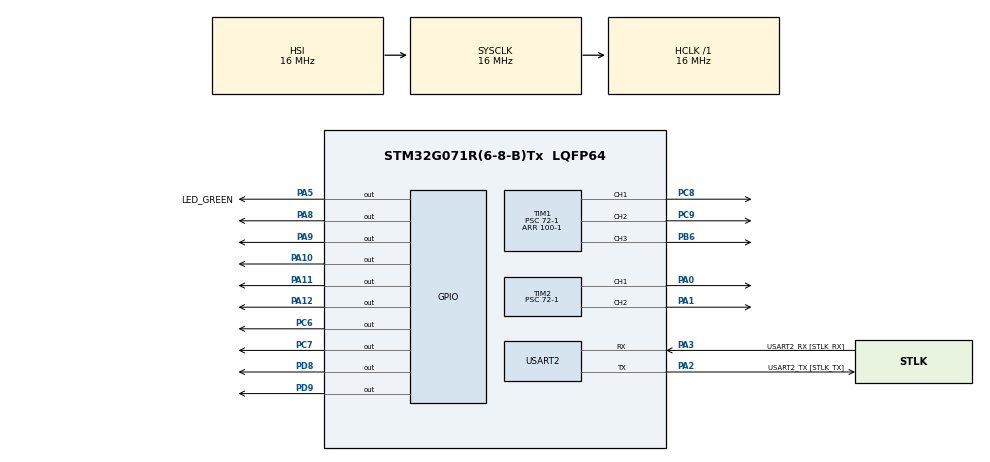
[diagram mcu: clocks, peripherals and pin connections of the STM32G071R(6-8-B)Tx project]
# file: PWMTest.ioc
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Mcu.Family=STM32G0
Mcu.Name=STM32G071R(6-8-B)Tx
Mcu.Package=LQFP64
PA0.Signal=S_TIM2_CH1_ETR
PA1.Signal=S_TIM2_CH2
PA10.Signal=GPIO_Output
PA11\ [PA9].Signal=GPIO_Output
PA12\ [PA10].Signal=GPIO_Output
PA13.GPIO_Label=TMS
PA13.Mode=Serial_Wire
PA13.Signal=SYS_SWDIO
PA14-BOOT0.GPIO_Label=TCK
PA14-BOOT0.Mode=Serial_Wire
PA14-BOOT0.Signal=SYS_SWCLK
PA2.GPIO_Label=USART2_TX [STLK_TX]
PA2.GPIO_PuPd=GPIO_PULLUP
PA2.Mode=Asynchronous
PA2.Signal=USART2_TX
PA3.GPIO_Label=USART2_RX [STLK_RX]
PA3.GPIO_PuPd=GPIO_PULLUP
PA3.Mode=Asynchronous
PA3.Signal=USART2_RX
PA5.GPIO_Label=LED_GREEN
PA5.GPIO_Speed=GPIO_SPEED_FREQ_HIGH
PA5.Signal=GPIO_Output
PA8.Signal=GPIO_Output
PA9.Signal=GPIO_Output
PB6.Signal=S_TIM1_CH3
PC13.Mode=SYS_WakeUp1
PC13.Signal=SYS_WKUP2
PC14-OSC32_IN\ (PC14).Mode=LSE-External-Oscillator
PC14-OSC32_IN\ (PC14).Signal=RCC_OSC32_IN
PC15-OSC32_OUT\ (PC15).Mode=LSE-External-Oscillator
PC15-OSC32_OUT\ (PC15).Signal=RCC_OSC32_OUT
PC6.Signal=GPIO_Output
PC7.Signal=GPIO_Output
PC8.Signal=S_TIM1_CH1
PC9.Signal=S_TIM1_CH2
PD8.Signal=GPIO_Output
PD9.Signal=GPIO_Output
PF0-OSC_IN\ (PF0).GPIO_Label=MCO
PF0-OSC_IN\ (PF0).Mode=HSE-External-Clock-Source
PF0-OSC_IN\ (PF0).Signal=RCC_OSC_IN
ProjectManager.HeapSize=0x200
ProjectManager.StackSize=0x400
ProjectManager.TargetToolchain=STM32CubeIDE
RCC.AHBFreq_Value=16000000
RCC.CortexFreq_Value=16000000
RCC.EXTERNAL_CLOCK_VALUE=12288000
RCC.HCLKFreq_Value=16000000
RCC.HSE_VALUE=8000000
RCC.HSI_VALUE=16000000
RCC.SYSCLKFreq_VALUE=16000000
RCC.VCOOutputFreq_Value=128000000
SH.S_TIM1_CH1.0=TIM1_CH1,PWM Generation1 CH1
SH.S_TIM1_CH2.0=TIM1_CH2,PWM Generation2 CH2
SH.S_TIM1_CH3.0=TIM1_CH3,PWM Generation3 CH3
SH.S_TIM2_CH1_ETR.0=TIM2_CH1,PWM Generation1 CH1
SH.S_TIM2_CH2.0=TIM2_CH2,PWM Generation2 CH2
TIM1.Channel-PWM\ Generation1\ CH1=TIM_CHANNEL_1
TIM1.Channel-PWM\ Generation2\ CH2=TIM_CHANNEL_2
TIM1.Channel-PWM\ Generation3\ CH3=TIM_CHANNEL_3
TIM1.Period=100-1
TIM1.Prescaler=72-1
TIM2.Channel-PWM\ Generation1\ CH1=TIM_CHANNEL_1
TIM2.Channel-PWM\ Generation2\ CH2=TIM_CHANNEL_2
TIM2.Period=100-1
TIM2.Prescaler=72-1
USART2.VirtualMode-Asynchronous=VM_ASYNC
board=NUCLEO-G071RB

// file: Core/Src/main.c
/* USER CODE BEGIN Header */
/**
  ******************************************************************************
  * @file           : main.c
  * @brief          : Main program body
  ******************************************************************************
  * @attention
  *
  * Copyright (c) 2023 STMicroelectronics.
  * All rights reserved.
  *
  * This software is licensed under terms that can be found in the LICENSE file
  * in the root directory of this software component.
  * If no LICENSE file comes with this software, it is provided AS-IS.
  *
  ******************************************************************************
  */
/* USER CODE END Header */
#include "main.h"

TIM_HandleTypeDef htim1;
TIM_HandleTypeDef htim2;

UART_HandleTypeDef huart2;

void SystemClock_Config(void);
static void MX_GPIO_Init(void);
static void MX_USART2_UART_Init(void);
static void MX_TIM1_Init(void);
static void MX_TIM2_Init(void);
/* USER CODE BEGIN PFP */
static void ChangeLaunchSpeed(uint8_t lcdspeed, uint8_t lcdspin); // LCD input
static void ChangeSpin(uint8_t lcdspin, uint8_t lcdspeed); // LCD Input - 9 different spins, middle one is net zero
static void ChangeVerticalAngle(uint8_t newAngle, uint8_t currentAngle);
static void ChangeHorizontalAngle(uint8_t newAngle, uint8_t currentAngle);
static void ChangeDispenseFrequency(uint8_t lcdperiod);
static void BeginLaunching(void);
static void EndLaunching(void);
/* USER CODE END PFP */

/* USER CODE BEGIN 0 */
uint8_t speed = 1;
uint8_t spin = 5;
uint8_t vangle = 1;
uint8_t hangle = 6;
uint8_t period = 10;
/* USER CODE END 0 */

int main(void)
{

  /* MCU Configuration--------------------------------------------------------*/

  /* Reset of all peripherals, Initializes the Flash interface and the Systick. */
  HAL_Init();

  /* Configure the system clock */
  SystemClock_Config();

  /* Initialize all configured peripherals */
  MX_GPIO_Init();
  MX_USART2_UART_Init();
  MX_TIM1_Init();
  MX_TIM2_Init();

  /* Infinite loop */
  /* USER CODE BEGIN WHILE */
  while (1)
  {
//	  HAL_Delay(5000);
//	  ChangeLaunchSpeed(10, 5);
//	  BeginLaunching();
//	  HAL_Delay(10000);
//	  ChangeLaunchSpeed(1, 5);
//	  HAL_Delay(10000);
//	  EndLaunching();
//	  HAL_Delay(5000);

	  ChangeVerticalAngle(5, 1);
	  HAL_Delay(6000);
	  ChangeVerticalAngle(1,5);
	  HAL_Delay(6000);

//	  HAL_GPIO_WritePin(GPIOA, GPIO_PIN_8, 1);
//
//	  HAL_TIM_PWM_Start(&htim1, TIM_CHANNEL_2);
//	  int t = HAL_GPIO_ReadPin(GPIOB_GPIO_PIN_14);
//	  HAL_GPIO_WritePin(GPIOC, GPIO_PIN_7, 1);
//	  HAL_Delay(1000);
//	  HAL_GPIO_WritePin(GPIOC, GPIO_PIN_7, 0);
//	  HAL_Delay(1000);

    /* USER CODE END WHILE */

  }
}

void SystemClock_Config(void)
{
  RCC_OscInitTypeDef RCC_OscInitStruct = {0};
  RCC_ClkInitTypeDef RCC_ClkInitStruct = {0};

  /** Configure the main internal regulator output voltage
  */
  HAL_PWREx_ControlVoltageScaling(PWR_REGULATOR_VOLTAGE_SCALE1);

  /** Initializes the RCC Oscillators according to the specified parameters
  * in the RCC_OscInitTypeDef structure.
  */
  RCC_OscInitStruct.OscillatorType = RCC_OSCILLATORTYPE_HSI;
  RCC_OscInitStruct.HSIState = RCC_HSI_ON;
  RCC_OscInitStruct.HSIDiv = RCC_HSI_DIV1;
  RCC_OscInitStruct.HSICalibrationValue = RCC_HSICALIBRATION_DEFAULT;
  RCC_OscInitStruct.PLL.PLLState = RCC_PLL_NONE;
  if (HAL_RCC_OscConfig(&RCC_OscInitStruct) != HAL_OK)
  {
    Error_Handler();
  }

  /** Initializes the CPU, AHB and APB buses clocks
  */
  RCC_ClkInitStruct.ClockType = RCC_CLOCKTYPE_HCLK|RCC_CLOCKTYPE_SYSCLK
                              |RCC_CLOCKTYPE_PCLK1;
  RCC_ClkInitStruct.SYSCLKSource = RCC_SYSCLKSOURCE_HSI;
  RCC_ClkInitStruct.AHBCLKDivider = RCC_SYSCLK_DIV1;
  RCC_ClkInitStruct.APB1CLKDivider = RCC_HCLK_DIV1;

  if (HAL_RCC_ClockConfig(&RCC_ClkInitStruct, FLASH_LATENCY_0) != HAL_OK)
  {
    Error_Handler();
  }
}

static void MX_TIM1_Init(void)
{

  TIM_MasterConfigTypeDef sMasterConfig = {0};
  TIM_OC_InitTypeDef sConfigOC = {0};
  TIM_BreakDeadTimeConfigTypeDef sBreakDeadTimeConfig = {0};

  htim1.Instance = TIM1;
  htim1.Init.Prescaler = 72-1;
  htim1.Init.CounterMode = TIM_COUNTERMODE_UP;
  htim1.Init.Period = 100-1;
  htim1.Init.ClockDivision = TIM_CLOCKDIVISION_DIV1;
  htim1.Init.RepetitionCounter = 0;
  htim1.Init.AutoReloadPreload = TIM_AUTORELOAD_PRELOAD_DISABLE;
  if (HAL_TIM_PWM_Init(&htim1) != HAL_OK)
  {
    Error_Handler();
  }
  sMasterConfig.MasterOutputTrigger = TIM_TRGO_RESET;
  sMasterConfig.MasterOutputTrigger2 = TIM_TRGO2_RESET;
  sMasterConfig.MasterSlaveMode = TIM_MASTERSLAVEMODE_DISABLE;
  if (HAL_TIMEx_MasterConfigSynchronization(&htim1, &sMasterConfig) != HAL_OK)
  {
    Error_Handler();
  }
  sConfigOC.OCMode = TIM_OCMODE_PWM1;
  sConfigOC.Pulse = 0;
  sConfigOC.OCPolarity = TIM_OCPOLARITY_HIGH;
  sConfigOC.OCNPolarity = TIM_OCNPOLARITY_HIGH;
  sConfigOC.OCFastMode = TIM_OCFAST_DISABLE;
  sConfigOC.OCIdleState = TIM_OCIDLESTATE_RESET;
  sConfigOC.OCNIdleState = TIM_OCNIDLESTATE_RESET;
  if (HAL_TIM_PWM_ConfigChannel(&htim1, &sConfigOC, TIM_CHANNEL_1) != HAL_OK)
  {
    Error_Handler();
  }
  if (HAL_TIM_PWM_ConfigChannel(&htim1, &sConfigOC, TIM_CHANNEL_2) != HAL_OK)
  {
    Error_Handler();
  }
  if (HAL_TIM_PWM_ConfigChannel(&htim1, &sConfigOC, TIM_CHANNEL_3) != HAL_OK)
  {
    Error_Handler();
  }
  sBreakDeadTimeConfig.OffStateRunMode = TIM_OSSR_DISABLE;
  sBreakDeadTimeConfig.OffStateIDLEMode = TIM_OSSI_DISABLE;
  sBreakDeadTimeConfig.LockLevel = TIM_LOCKLEVEL_OFF;
  sBreakDeadTimeConfig.DeadTime = 0;
  sBreakDeadTimeConfig.BreakState = TIM_BREAK_DISABLE;
  sBreakDeadTimeConfig.BreakPolarity = TIM_BREAKPOLARITY_HIGH;
  sBreakDeadTimeConfig.BreakFilter = 0;
  sBreakDeadTimeConfig.BreakAFMode = TIM_BREAK_AFMODE_INPUT;
  sBreakDeadTimeConfig.Break2State = TIM_BREAK2_DISABLE;
  sBreakDeadTimeConfig.Break2Polarity = TIM_BREAK2POLARITY_HIGH;
  sBreakDeadTimeConfig.Break2Filter = 0;
  sBreakDeadTimeConfig.Break2AFMode = TIM_BREAK_AFMODE_INPUT;
  sBreakDeadTimeConfig.AutomaticOutput = TIM_AUTOMATICOUTPUT_DISABLE;
  if (HAL_TIMEx_ConfigBreakDeadTime(&htim1, &sBreakDeadTimeConfig) != HAL_OK)
  {
    Error_Handler();
  }
  HAL_TIM_MspPostInit(&htim1);

}

static void MX_TIM2_Init(void)
{

  TIM_MasterConfigTypeDef sMasterConfig = {0};
  TIM_OC_InitTypeDef sConfigOC = {0};

  htim2.Instance = TIM2;
  htim2.Init.Prescaler = 72-1;
  htim2.Init.CounterMode = TIM_COUNTERMODE_UP;
  htim2.Init.Period = 100-1;
  htim2.Init.ClockDivision = TIM_CLOCKDIVISION_DIV1;
  htim2.Init.AutoReloadPreload = TIM_AUTORELOAD_PRELOAD_DISABLE;
  if (HAL_TIM_PWM_Init(&htim2) != HAL_OK)
  {
    Error_Handler();
  }
  sMasterConfig.MasterOutputTrigger = TIM_TRGO_RESET;
  sMasterConfig.MasterSlaveMode = TIM_MASTERSLAVEMODE_DISABLE;
  if (HAL_TIMEx_MasterConfigSynchronization(&htim2, &sMasterConfig) != HAL_OK)
  {
    Error_Handler();
  }
  sConfigOC.OCMode = TIM_OCMODE_PWM1;
  sConfigOC.Pulse = 0;
  sConfigOC.OCPolarity = TIM_OCPOLARITY_HIGH;
  sConfigOC.OCFastMode = TIM_OCFAST_DISABLE;
  if (HAL_TIM_PWM_ConfigChannel(&htim2, &sConfigOC, TIM_CHANNEL_1) != HAL_OK)
  {
    Error_Handler();
  }
  if (HAL_TIM_PWM_ConfigChannel(&htim2, &sConfigOC, TIM_CHANNEL_2) != HAL_OK)
  {
    Error_Handler();
  }
  HAL_TIM_MspPostInit(&htim2);

}

static void MX_USART2_UART_Init(void)
{

  huart2.Instance = USART2;
  huart2.Init.BaudRate = 115200;
  huart2.Init.WordLength = UART_WORDLENGTH_8B;
  huart2.Init.StopBits = UART_STOPBITS_1;
  huart2.Init.Parity = UART_PARITY_NONE;
  huart2.Init.Mode = UART_MODE_TX_RX;
  huart2.Init.HwFlowCtl = UART_HWCONTROL_NONE;
  huart2.Init.OverSampling = UART_OVERSAMPLING_16;
  huart2.Init.OneBitSampling = UART_ONE_BIT_SAMPLE_DISABLE;
  huart2.Init.ClockPrescaler = UART_PRESCALER_DIV1;
  huart2.AdvancedInit.AdvFeatureInit = UART_ADVFEATURE_NO_INIT;
  if (HAL_UART_Init(&huart2) != HAL_OK)
  {
    Error_Handler();
  }
  if (HAL_UARTEx_SetTxFifoThreshold(&huart2, UART_TXFIFO_THRESHOLD_1_8) != HAL_OK)
  {
    Error_Handler();
  }
  if (HAL_UARTEx_SetRxFifoThreshold(&huart2, UART_RXFIFO_THRESHOLD_1_8) != HAL_OK)
  {
    Error_Handler();
  }
  if (HAL_UARTEx_DisableFifoMode(&huart2) != HAL_OK)
  {
    Error_Handler();
  }

}

static void MX_GPIO_Init(void)
{
  GPIO_InitTypeDef GPIO_InitStruct = {0};

  /* GPIO Ports Clock Enable */
  __HAL_RCC_GPIOC_CLK_ENABLE();
  __HAL_RCC_GPIOF_CLK_ENABLE();
  __HAL_RCC_GPIOA_CLK_ENABLE();
  __HAL_RCC_GPIOD_CLK_ENABLE();
  __HAL_RCC_GPIOB_CLK_ENABLE();

  /*Configure GPIO pin Output Level */
  HAL_GPIO_WritePin(GPIOA, LED_GREEN_Pin|GPIO_PIN_8|GPIO_PIN_9|GPIO_PIN_10
                          |GPIO_PIN_11|GPIO_PIN_12, GPIO_PIN_RESET);

  /*Configure GPIO pin Output Level */
  HAL_GPIO_WritePin(GPIOC, GPIO_PIN_6|GPIO_PIN_7, GPIO_PIN_RESET);

  /*Configure GPIO pin Output Level */
  HAL_GPIO_WritePin(GPIOD, GPIO_PIN_8|GPIO_PIN_9, GPIO_PIN_RESET);

  /*Configure GPIO pin : LED_GREEN_Pin */
  GPIO_InitStruct.Pin = LED_GREEN_Pin;
  GPIO_InitStruct.Mode = GPIO_MODE_OUTPUT_PP;
  GPIO_InitStruct.Pull = GPIO_NOPULL;
  GPIO_InitStruct.Speed = GPIO_SPEED_FREQ_HIGH;
  HAL_GPIO_Init(LED_GREEN_GPIO_Port, &GPIO_InitStruct);

  /*Configure GPIO pins : PA8 PA9 PA10 PA11
                           PA12 */
  GPIO_InitStruct.Pin = GPIO_PIN_8|GPIO_PIN_9|GPIO_PIN_10|GPIO_PIN_11
                          |GPIO_PIN_12;
  GPIO_InitStruct.Mode = GPIO_MODE_OUTPUT_PP;
  GPIO_InitStruct.Pull = GPIO_NOPULL;
  GPIO_InitStruct.Speed = GPIO_SPEED_FREQ_LOW;
  HAL_GPIO_Init(GPIOA, &GPIO_InitStruct);

  /*Configure GPIO pins : PC6 PC7 */
  GPIO_InitStruct.Pin = GPIO_PIN_6|GPIO_PIN_7;
  GPIO_InitStruct.Mode = GPIO_MODE_OUTPUT_PP;
  GPIO_InitStruct.Pull = GPIO_NOPULL;
  GPIO_InitStruct.Speed = GPIO_SPEED_FREQ_LOW;
  HAL_GPIO_Init(GPIOC, &GPIO_InitStruct);

  /*Configure GPIO pins : PD8 PD9 */
  GPIO_InitStruct.Pin = GPIO_PIN_8|GPIO_PIN_9;
  GPIO_InitStruct.Mode = GPIO_MODE_OUTPUT_PP;
  GPIO_InitStruct.Pull = GPIO_NOPULL;
  GPIO_InitStruct.Speed = GPIO_SPEED_FREQ_LOW;
  HAL_GPIO_Init(GPIOD, &GPIO_InitStruct);

}

/* USER CODE BEGIN 4 */
/**
  * @brief  This function changes the speed based on an input value
  * @param takes in int speed (8 bits, but only 9 speed presets will be used)
  * @param takes in int lcdspin, int 1 to 9, 1 being backspin, 5 being neutral, 9 being topspin (scales accordingly)
  * @retval None
  */
static void ChangeLaunchSpeed(uint8_t lcdspeed, uint8_t lcdspin){
	// TODO - fix spin issues when at top speed
	// TIM1->CCR1 is top wheel, CCR2 is Bottom wheel
	if(lcdspeed == 1){
		TIM1->CCR1 = 50;
		TIM1->CCR2 = 50;
	}
	else if(lcdspeed == 2){
		TIM1->CCR1 = 56;
		TIM1->CCR2 = 56;
	}
	else if(lcdspeed == 3){
		TIM1->CCR1 = 63;
		TIM1->CCR2 = 63;		}
	else if(lcdspeed == 4){
		TIM1->CCR1 = 69;
		TIM1->CCR2 = 69;		}
	else if(lcdspeed == 5){
		TIM1->CCR1 = 75;
		TIM1->CCR2 = 75;		}
	else if(lcdspeed == 6){
		TIM1->CCR1 = 75;
		TIM1->CCR2 = 75;		}
	else if(lcdspeed == 7){
			TIM1->CCR1 = 75;
			TIM1->CCR2 = 75;
//		switch(lcdspin) {
//				case 1: // full backspin
//					TIM1->CCR1 = 88;
//					TIM1->CCR2 = 72;
//				case 2:
//					TIM1->CCR1 = 88;
//					TIM1->CCR2 = 76;
//				case 3: //
//					TIM1->CCR1 = 88;
//					TIM1->CCR2 = 80;
//				case 4: //
//					TIM1->CCR1 = 88;
//					TIM1->CCR2 = 84;
//				case 5: // no spin
//					TIM1->CCR1 = 88;
//					TIM1->CCR2 = 88;
//				case 6: //
//					TIM1->CCR1 = 84;
//					TIM1->CCR2 = 88;
//				case 7: //
//					TIM1->CCR1 = 80;
//					TIM1->CCR2 = 88;
//				case 8: //
//					TIM1->CCR1 = 76;
//					TIM1->CCR2 = 88;
//				case 9: // full topspin
//					TIM1->CCR1 = 72;
//					TIM1->CCR2 = 88;
//				}
	}
	else if(lcdspeed == 8){
		TIM1->CCR1 = 75;
		TIM1->CCR2 = 75;
//		switch(lcdspin) {
//			case 1: // full backspin
//				TIM1->CCR1 = 94;
//				TIM1->CCR2 = 79;
//			case 2:
//				TIM1->CCR1 = 94;
//				TIM1->CCR2 = 83;
//			case 3: //
//				TIM1->CCR1 = 94;
//				TIM1->CCR2 = 87;
//			case 4: //
//				TIM1->CCR1 = 94;
//				TIM1->CCR2 = 91;
//			case 5: // no spin
//				TIM1->CCR1 = 94;
//				TIM1->CCR2 = 94;
//			case 6: //
//				TIM1->CCR1 = 91;
//				TIM1->CCR2 = 94;
//			case 7: //
//				TIM1->CCR1 = 87;
//				TIM1->CCR2 = 94;
//			case 8: //
//				TIM1->CCR1 = 83;
//				TIM1->CCR2 = 94;
//			case 9: // full topspin
//				TIM1->CCR1 = 79;
//				TIM1->CCR2 = 94;
//		}
	}
	else if(lcdspeed == 9){
		TIM1->CCR1 = 75;
		TIM1->CCR2 = 75;
	}
//		switch(lcdspin) {
//			case 1: // full backspin
//				TIM1->CCR1 = 99;
//				TIM1->CCR2 = 83;
//			case 2:
//				TIM1->CCR1 = 99;
//				TIM1->CCR2 = 87;
//			case 3: //
//				TIM1->CCR1 = 99;
//				TIM1->CCR2 = 91;
//			case 4: //
//				TIM1->CCR1 = 99;
//				TIM1->CCR2 = 95;
//			case 5: // no spin
//				TIM1->CCR1 = 99;
//				TIM1->CCR2 = 99;
//			case 6: //
//				TIM1->CCR1 = 95;
//				TIM1->CCR2 = 99;
//			case 7: //
//				TIM1->CCR1 = 91;
//				TIM1->CCR2 = 99;
//			case 8: //
//				TIM1->CCR1 = 87;
//				TIM1->CCR2 = 99;
//			case 9: // full topspin
//				TIM1->CCR1 = 81;
//				TIM1->CCR2 = 99;
//		}
	else if(lcdspeed == 10){
		TIM1->CCR1 = 100;
		TIM1->CCR2 = 100;
	}

}
static void ChangeSpin(uint8_t lcdspin, uint8_t lcdspeed){

}
/**
  * @brief  This function changes the vertical angle based on LCD input value
  * @param newAngle takes in the desired vertical angle (an int 1 to 11, 1 being lowest, 11 highest)
  * @param currentAngle takes in the current vertical angle (an int 1 to 11, 1 being lowest, 11 highest)
  * The actuator takes 10 seconds to move from bottom to top or top to bottom
  * @retval None
  */
static void ChangeVerticalAngle(uint8_t newAngle, uint8_t currentAngle){
	int diff = 0;
	int timedelay = 0;
//	TIM2->CCR1 = 99;
	if(newAngle > currentAngle){
		diff = newAngle - currentAngle; // this will be the # seconds to move the actuator for

		// Set Directional pins
		HAL_GPIO_WritePin(GPIOA, GPIO_PIN_10, 1);
		HAL_GPIO_WritePin(GPIOD, GPIO_PIN_9, 0);

		// enable pin for x seconds, then disable
		timedelay = diff * 1000;
		TIM2->CCR1 = 99;
		HAL_TIM_PWM_Start(&htim2, TIM_CHANNEL_1);
		HAL_Delay(1000);
		TIM2->CCR1 = 0;
		HAL_TIM_PWM_Stop(&htim2, TIM_CHANNEL_1);

	}
	else if(newAngle < currentAngle){
		diff = currentAngle - newAngle; // this will be the # seconds to move the actuator for

		// Set Directional pins (opposite as above)
		HAL_GPIO_WritePin(GPIOA, GPIO_PIN_10, 0);
		HAL_GPIO_WritePin(GPIOD, GPIO_PIN_9, 1);

		// enable pin for x seconds, then disable
		timedelay = diff * 1000;
		TIM2->CCR1 = 99;
		HAL_TIM_PWM_Start(&htim2, TIM_CHANNEL_1);
		HAL_Delay(1000);
		TIM2->CCR1 = 0;
		HAL_TIM_PWM_Stop(&htim2, TIM_CHANNEL_1);
	}
	// update stored value
	vangle = newAngle;
	// other else is if nothing changes, but we need to do nothing in this case

}
/**
  * @brief  This function changes the horizontal angle based on LCD input value
  * @param newAngle takes in the desired horizontal angle (an int 1 to 11, 1 being lowest, 11 highest)
  * @param currentAngle takes in the current horizontal angle (an int 1 to 11, 1 being lowest, 11 highest)
  * The actuator takes 10 seconds to move from left to right or right to left
  * @retval None
  */
static void ChangeHorizontalAngle(uint8_t newAngle, uint8_t currentAngle){
	int diff = 0;
	int timedelay = 0;
//	TIM2->CCR2 = 99;
	if(newAngle > currentAngle){
		diff = newAngle - currentAngle; // this will be the # seconds to move the actuator for

		// Set Directional pins
		HAL_GPIO_WritePin(GPIOD, GPIO_PIN_8, 1);
		HAL_GPIO_WritePin(GPIOC, GPIO_PIN_7, 0);

		// enable pin for x seconds, then disable
		timedelay = diff * 1000;
		TIM2->CCR2 = 99;
		HAL_TIM_PWM_Start(&htim2, TIM_CHANNEL_2);
		HAL_Delay(1000);
		TIM2->CCR2 = 0;
		HAL_Delay(1000);
		HAL_TIM_PWM_Stop(&htim2, TIM_CHANNEL_2);

	}
	else if(newAngle < currentAngle){
		diff = currentAngle - newAngle; // this will be the # seconds to move the actuator for

		// Set Directional pins (opposite as above)
		HAL_GPIO_WritePin(GPIOD, GPIO_PIN_8, 0);
		HAL_GPIO_WritePin(GPIOC, GPIO_PIN_7, 1);

		// enable pin for x seconds, then disable
		timedelay = diff * 1000;
		TIM2->CCR2 = 99;
		HAL_TIM_PWM_Start(&htim2, TIM_CHANNEL_2);
		HAL_Delay(1000);
		TIM2->CCR2 = 0;
		HAL_Delay(1000);
		HAL_TIM_PWM_Stop(&htim2, TIM_CHANNEL_2);
	}
	// update stored value
	hangle = newAngle;
	// other else is if nothing changes, but we need to do nothing in this case

}
/**
  * @brief  This function changes the dispensing motor's frequency using varying PWM signal duty cycles
  * @param lcdperiod is the desired period in seconds
  * @retval None
  * TODO - Figure out PWM duty cycles that give desired frequency
  */
static void ChangeDispenseFrequency(uint8_t lcdperiod){
	switch(lcdperiod){
	case 5:
		TIM1->CCR3 = 50;
	case 6:
		TIM1->CCR3 = 60;
	case 7:
		TIM1->CCR3 = 70;
	case 8:
		TIM1->CCR3 = 80;
	case 9:
		TIM1->CCR3 = 90;
	case 10:
		TIM1->CCR3 = 100;
	}

}
static void BeginLaunching(void){
	//write the directional signals
	HAL_GPIO_WritePin(GPIOA, GPIO_PIN_12, 1);
	HAL_GPIO_WritePin(GPIOA, GPIO_PIN_11, 0);

	// write the enable signals to the motor drivers
	HAL_TIM_PWM_Start(&htim1, TIM_CHANNEL_1);
	HAL_TIM_PWM_Start(&htim1, TIM_CHANNEL_2);
//	HAL_Delay(8000);

}
static void EndLaunching(void){
	// write the enable signal as 0 for the motor drivers
	TIM1->CCR1 = 0;
	TIM1->CCR2 = 0;
	HAL_TIM_PWM_Stop(&htim1, TIM_CHANNEL_1);
	HAL_TIM_PWM_Stop(&htim1, TIM_CHANNEL_2);

}
static void ShutDown(void){
	// reset the actuators so that the machine knows where they are always
	ChangeHorizontalAngle(6, hangle);
	ChangeVerticalAngle(1, vangle);

}
/* USER CODE END 4 */

void Error_Handler(void)
{
  __disable_irq();
  while (1)
  {
  }
}
